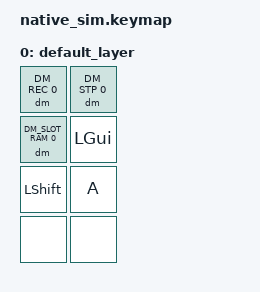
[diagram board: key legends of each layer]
#include <dt-bindings/zmk/keys.h>
#include <behaviors.dtsi>
#include <dt-bindings/zmk/kscan_mock.h>
#include <behaviors/dynamic_macro.dtsi>
#include <dt-bindings/zmk/dynamic_macros.h>

/*
 * Standalone modifier taps are kept. A bare modifier recorded with NO
 * intervening key (e.g. a lone GUI/Win tap to open a launcher) is a lone tap
 * and replays verbatim. A bare modifier that DOES bracket a key is still
 * dropped and folded onto that key. This keymap records, in one macro:
 *
 *   1. a lone LGUI tap            -> kept as GUI down/up
 *   2. a lone LSHFT tap           -> kept as Shift down/up
 *   3. Shift+A (separate keys)    -> bracketed: bare Shift dropped, A folded
 *
 * so playback proves both verdicts in the same recording.
 */

&kscan {
    rows = <4>;
    columns = <2>;
    exit-after;
    events = <
        /* REC */
        ZMK_MOCK_PRESS(0,0,10)
        ZMK_MOCK_RELEASE(0,0,10)
        /* lone LGUI tap  (binding at 1,1) */
        ZMK_MOCK_PRESS(1,1,10)
        ZMK_MOCK_RELEASE(1,1,10)
        /* lone LSHFT tap (binding at 2,0) */
        ZMK_MOCK_PRESS(2,0,10)
        ZMK_MOCK_RELEASE(2,0,10)
        /* Shift+A via separate keys (bracketed): LSHFT 2,0  A 2,1 */
        ZMK_MOCK_PRESS(2,0,10)
        ZMK_MOCK_PRESS(2,1,10)
        ZMK_MOCK_RELEASE(2,1,10)
        ZMK_MOCK_RELEASE(2,0,10)
        /* STP */
        ZMK_MOCK_PRESS(0,1,10)
        ZMK_MOCK_RELEASE(0,1,10)
        /* Assign to RAM slot 0 */
        ZMK_MOCK_PRESS(1,0,10)
        ZMK_MOCK_RELEASE(1,0,10)
        /* Play RAM slot 0 */
        ZMK_MOCK_PRESS(1,0,2000)
        ZMK_MOCK_RELEASE(1,0,10)
    >;
};

/ {
    keymap {
        compatible = "zmk,keymap";
        default_layer {
            bindings = <
                &dm DM_REC 0        &dm DM_STP 0
                &dm DM_SLOT_RAM 0   &kp LGUI
                &kp LSHFT           &kp A
                &none               &none
            >;
            /* grid: (0,0)REC (0,1)STP / (1,0)SLOT0 (1,1)LGUI /
             *       (2,0)LSHFT (2,1)A / (3,0)none (3,1)none */
        };
    };
};
